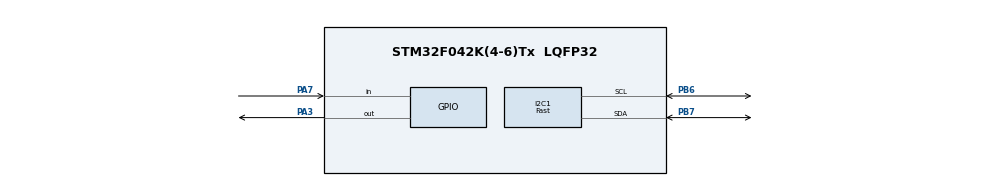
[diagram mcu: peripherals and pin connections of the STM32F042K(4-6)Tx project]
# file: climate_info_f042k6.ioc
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I2C1.I2C_Speed_Mode=I2C_Fast
I2C1.Timing=0x0010020A
Mcu.Family=STM32F0
Mcu.Name=STM32F042K(4-6)Tx
Mcu.Package=LQFP32
NVIC.RTC_IRQn=true\:0\:0\:false\:false\:true\:true\:true\:true
NVIC.TIM2_IRQn=true\:0\:0\:false\:false\:true\:true\:true\:true
PA3.Signal=GPIO_Output
PA7.Signal=GPIO_Input
PB6.Mode=I2C
PB6.Signal=I2C1_SCL
PB7.Mode=I2C
PB7.Signal=I2C1_SDA
ProjectManager.HeapSize=0x200
ProjectManager.StackSize=0x400
ProjectManager.TargetToolchain=STM32CubeIDE
RTC.Alarm=RTC_ALARM_A
RTC.AlarmMaskDateWeekDay=RTC_ALARMMASK_DATEWEEKDAY
RTC.AlarmMaskHours=RTC_ALARMMASK_HOURS
RTC.AlarmMaskMinutes=RTC_ALARMMASK_MINUTES
RTC.AlarmMaskSeconds=RTC_ALARMMASK_SECONDS
RTC.AlarmSubSecondMask=RTC_ALARMSUBSECONDMASK_NONE
RTC.AsynchPrediv=124
RTC.Seconds_A=1
RTC.SynchPrediv=295
TIM2.Period=100
TIM2.Prescaler=799
VP_RTC_VS_RTC_Activate.Mode=RTC_Enabled
VP_RTC_VS_RTC_Alarm_A_Intern.Mode=Alarm A
VP_RTC_VS_RTC_Calendar.Mode=RTC_Calendar
VP_TIM2_VS_ClockSourceINT.Mode=Internal
board=custom

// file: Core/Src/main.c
/* USER CODE BEGIN Header */
/**
  ******************************************************************************
  * @file           : main.c
  * @brief          : Main program body
  ******************************************************************************
  * @attention
  *
  * Copyright (c) 2025 STMicroelectronics.
  * All rights reserved.
  *
  * This software is licensed under terms that can be found in the LICENSE file
  * in the root directory of this software component.
  * If no LICENSE file comes with this software, it is provided AS-IS.
  *
  ******************************************************************************
  */
/* USER CODE END Header */
#include "main.h"

/* USER CODE BEGIN Includes */
#include "lcd.h"
#include "sht41.h"
#include "eeprom_climate_data.h"

/* USER CODE END Includes */

/* USER CODE BEGIN PD */
#define CONSECUTIVE_BUTTON_PRESS_THRESHOLD 20
#define RESET_EEPROM_BUTTON_PRESS_THRESHOLD 1000 // 10 seconds at 100Hz
#define NUMBER_LCD_SCREENS 4
#define EEPROM_ADDRESS 0x50 << 1

/* USER CODE END PD */

I2C_HandleTypeDef hi2c1;

RTC_HandleTypeDef hrtc;

TIM_HandleTypeDef htim2;

/* USER CODE BEGIN PV */
typedef void (* lcd_screen_func)(climate_data *clim_data);
lcd_screen_func lcd_screens[NUMBER_LCD_SCREENS];
uint8_t current_lcd_screen = 0;

volatile int16_t consecutive_button_presses = 0;
volatile int button_handled = 0;
volatile uint8_t lcd_update_pending = 0;
volatile uint8_t sample_pending = 0;  // Flag for temperature sampling
volatile uint8_t reset_eeprom_flag = 0;
volatile uint8_t _1_second_elapsed = 0;

volatile uint8_t lcd_refresh_clock = 0;

climate_data cdata;

/* USER CODE END PV */

void SystemClock_Config(void);
static void MX_GPIO_Init(void);
static void MX_I2C1_Init(void);
static void MX_TIM2_Init(void);
static void MX_RTC_Init(void);
/* USER CODE BEGIN PFP */
void init_lcd_screens();
void write_temps_lcd(I2C_HandleTypeDef * hi2c, char * temp_buffer, char * hum_buffer);
void lcd_print_current_climate(climate_data *clim_data);
void lcd_print_minmax_temp(climate_data *clim_data);
void lcd_print_minmax_hum(climate_data *clim_data);
void lcd_print_time(climate_data *clim_data);

/* USER CODE END PFP */

/* USER CODE BEGIN 0 */
/*
 * Button class could expose a callback function to be put into HAL_TIM_PeriodElapsedCallback
 * It interally read the pin, check previous and current states, etc.
 * Button handler struct could allow a user to provide a callback function that runs when button is pressed
 * How does arduino handle button press API?
 * 	- blocking call to WaitForButtonPress()?
 * 	- Callback when a button is pressed?
 * 	-
 */
void HAL_TIM_PeriodElapsedCallback(TIM_HandleTypeDef *htim)
{
	static uint16_t tick_counter = 0;
	static uint16_t button_down_counter = 0;
	static uint16_t button_up_counter = 0;
	static GPIO_PinState last_button_state = GPIO_PIN_RESET;  // Assume button is normally HIGH
	static uint8_t button_pressed = 0;

	if (htim->Instance == TIM2)  // 100 Hz timer
	{
		GPIO_PinState buttonState = HAL_GPIO_ReadPin(GPIOA, GPIO_PIN_7);
		if (buttonState == GPIO_PIN_SET && last_button_state == GPIO_PIN_RESET)
		{
			button_pressed = 1;
			last_button_state = GPIO_PIN_SET;
		}
		else if(buttonState == GPIO_PIN_RESET)
		{
			button_pressed = 0;
			last_button_state = GPIO_PIN_RESET;
		}
		else
		{

		}

		if(button_pressed)
		{
			button_pressed = 0;
			current_lcd_screen = (current_lcd_screen + 1) % NUMBER_LCD_SCREENS;
			lcd_update_pending = 1;  // Signal LCD update
		}

		// Temperature sampling
		if (++tick_counter >= 300)  // 3 seconds at 100 Hz
		{
			tick_counter = 0;
			sample_pending = 1;
		}
		else if(tick_counter >= 100) // 1 second
		{
			_1_second_elapsed = 1;
		}

	}
}

void HAL_RTC_AlarmAEventCallback(RTC_HandleTypeDef *hrtc)
{
	if(current_lcd_screen == 3)
	{
		lcd_refresh_clock = 1;
	}
}

void set_time (uint8_t hr, uint8_t min, uint8_t sec)
{
	RTC_TimeTypeDef sTime = {0};

	sTime.Hours = hr;
	sTime.Minutes = min;
	sTime.Seconds = sec;
	sTime.DayLightSaving = RTC_DAYLIGHTSAVING_NONE;
	sTime.StoreOperation = RTC_STOREOPERATION_RESET;
	if (HAL_RTC_SetTime(&hrtc, &sTime, RTC_FORMAT_BIN) != HAL_OK)
	{
		Error_Handler();
	}
}

void set_date (uint8_t year, uint8_t month, uint8_t date, uint8_t day)  // monday = 1
{

	RTC_DateTypeDef sDate = {0};
	sDate.WeekDay = day;
	sDate.Month = month;
	sDate.Date = date;
	sDate.Year = year;
	if (HAL_RTC_SetDate(&hrtc, &sDate, RTC_FORMAT_BIN) != HAL_OK)
	{
		Error_Handler();
	}

	HAL_RTCEx_BKUPWrite(&hrtc, RTC_BKP_DR1, 0x2345);  // backup register
}

void get_time_date(char *time, char *date)
{
  RTC_DateTypeDef gDate;
  RTC_TimeTypeDef gTime;

  /* Get the RTC current Time */
  HAL_RTC_GetTime(&hrtc, &gTime, RTC_FORMAT_BIN);
  /* Get the RTC current Date */
  HAL_RTC_GetDate(&hrtc, &gDate, RTC_FORMAT_BIN);

  /* Display time Format: hh:mm:ss */
  sprintf((char*)time,"%02d:%02d:%02d",gTime.Hours, gTime.Minutes, gTime.Seconds);

  /* Display date Format: dd-mm-yyyy */
  sprintf((char*)date,"%02d-%02d-%2d",gDate.Date, gDate.Month, 2000 + gDate.Year);
}

void init_lcd_screens()
{
	//uint8_t amount_screens = sizeof(lcd_screens) / sizeof(lcd_screens[0]); // way to calculate
	lcd_screens[0] = lcd_print_current_climate;
	lcd_screens[1] = lcd_print_minmax_temp;
	lcd_screens[2] = lcd_print_minmax_hum;
	lcd_screens[3] = lcd_print_time;
	lcd_screens[0](&cdata);
}

void write_temps_lcd(I2C_HandleTypeDef * hi2c, char * temp_buffer, char * hum_buffer)
{
	//uart_print(huart, temp_buffer);
	//uart_print(huart, hum_buffer);

	lcd_clear_display(hi2c);
	lcd_place_cursor(hi2c, 0, 0);
	lcd_print_string(hi2c, temp_buffer);
	lcd_place_cursor(hi2c, 1, 0);
	lcd_print_string(hi2c, hum_buffer);
}

void lcd_print_current_climate(climate_data *clim_data)
{
	char temp_str_buffer[32] = {0};
	char hum_str_buffer[32] = {0};

	sprintf(temp_str_buffer, "Cur Temp: %dF", (int) clim_data->current_temp);
	sprintf(hum_str_buffer, "Cur Hum:  %d%%", (int) clim_data->current_hum);

	lcd_print_2_lines(clim_data->hal_i2c, temp_str_buffer, hum_str_buffer);
}

void lcd_print_minmax_temp(climate_data *clim_data)
{
	char temp_str_buffer[32] = {0};
	char hum_str_buffer[32] = {0};

	sprintf(temp_str_buffer, "Max Temp: %dF", (int) clim_data->max_temp);
	sprintf(hum_str_buffer, "Min Temp: %dF", (int) clim_data->min_temp);

	lcd_print_2_lines(clim_data->hal_i2c, temp_str_buffer, hum_str_buffer);
}

void lcd_print_minmax_hum(climate_data *clim_data)
{
	char temp_str_buffer[32] = {0};
	char hum_str_buffer[32] = {0};

	sprintf(temp_str_buffer, "Max Hum: %d%%", (int) clim_data->max_hum);
	sprintf(hum_str_buffer, "Min Hum: %d%%", (int) clim_data->min_hum);

	lcd_print_2_lines(clim_data->hal_i2c, temp_str_buffer, hum_str_buffer);
}

void lcd_print_time(climate_data *clim_data)
{
	RTC_TimeTypeDef gTime;

	char time_buf[32] = {0};
	char date_buf[32] = {0};

	get_time_date(time_buf, date_buf);

	lcd_print_2_lines(clim_data->hal_i2c, "Uptime:", time_buf);
}

/*
void print_climate_data_to_uart(climate_data * climdata, UART_HandleTypeDef *huart)
{
	char str_buffer[32] = {0};
	sprintf(str_buffer, "Cur Temp: %dF", (int) climdata->current_temp);
	uart_print(huart, str_buffer);

	sprintf(str_buffer, "Cur Hum: %d%%", (int) climdata->current_hum);
	uart_print(huart, str_buffer);

	sprintf(str_buffer, "Max Temp: %dF", (int) climdata->max_temp);
	uart_print(huart, str_buffer);

	sprintf(str_buffer, "Min Temp: %dF", (int) climdata->min_temp);
	uart_print(huart, str_buffer);

	sprintf(str_buffer, "Max Hum: %d%%", (int) climdata->max_hum);
	uart_print(huart, str_buffer);

	sprintf(str_buffer, "Min Hum: %d%%", (int) climdata->min_hum);
	uart_print(huart, str_buffer);
}
*/

/* USER CODE END 0 */

int main(void)
{

  /* MCU Configuration--------------------------------------------------------*/

  /* Reset of all peripherals, Initializes the Flash interface and the Systick. */
  HAL_Init();

  /* Configure the system clock */
  SystemClock_Config();

  /* Initialize all configured peripherals */
  MX_GPIO_Init();
  MX_I2C1_Init();
  MX_TIM2_Init();
  MX_RTC_Init();

  /* Infinite loop */
  /* USER CODE BEGIN WHILE */
  HAL_StatusTypeDef retval = HAL_OK;
  //retval = reset_climate_data_eeprom(&hi2c1);
  retval = init_climate_data(&cdata, &hi2c1);
  init_lcd_screens();

  set_time(0,0,0);
  while (1)
  {
	  if(lcd_refresh_clock)
	  {
		  lcd_refresh_clock = 0;
		  lcd_screens[current_lcd_screen](&cdata);
	  }

	  if (lcd_update_pending)
	  {
		  lcd_update_pending = 0;  // Clear the flag
		  lcd_clear_display(cdata.hal_i2c);
		  HAL_Delay(10);
		  lcd_screens[current_lcd_screen](&cdata);  // Update LCD immediately
	  }

	  // Check for temperature sampling
	  uint8_t trigger_screen_refresh = 0;
	  if(reset_eeprom_flag)
	  {
		  reset_eeprom_flag = 0;

		  lcd_print_2_lines(&hi2c1, "RESETTING EEPROM", ".......");
		  HAL_Delay(2500);
		  if (reset_climate_data_eeprom(&hi2c1) != HAL_OK)
		  {
			  break;
		  }
		  if(init_climate_data(&cdata, &hi2c1) != HAL_OK)
		  {
			  break;
		  }
		  sample_pending = 1;
		  trigger_screen_refresh = 1;
		  HAL_Delay(1000);
	  }

	  if (sample_pending)
	  {
		  sample_pending = 0;  // Clear the flag
		  //HAL_GPIO_TogglePin(GPIOA, GPIO_PIN_3);

		  if (update_climate_data_in_eeprom(&cdata) != HAL_OK)
		  {
			  break;
		  }
		  //print_climate_data_to_uart(&cdata, &huart2);
		  if(current_lcd_screen == 0 || trigger_screen_refresh)
		  {
			  lcd_screens[current_lcd_screen](&cdata);
		  }
		 // HAL_GPIO_TogglePin(GPIOA, GPIO_PIN_3);
	  }
/*
	  if(_1_second_elapsed && current_lcd_screen == 3)
	  {
		  lcd_print_time(&cdata);
		  _1_second_elapsed = 0;
	  }
	  */

	  // Other tasks can be added here...

	  __WFI();
    /* USER CODE END WHILE */

  }
}

void SystemClock_Config(void)
{
  RCC_OscInitTypeDef RCC_OscInitStruct = {0};
  RCC_ClkInitTypeDef RCC_ClkInitStruct = {0};
  RCC_PeriphCLKInitTypeDef PeriphClkInit = {0};

  /** Initializes the RCC Oscillators according to the specified parameters
  * in the RCC_OscInitTypeDef structure.
  */
  RCC_OscInitStruct.OscillatorType = RCC_OSCILLATORTYPE_HSI|RCC_OSCILLATORTYPE_LSI;
  RCC_OscInitStruct.HSIState = RCC_HSI_ON;
  RCC_OscInitStruct.HSICalibrationValue = RCC_HSICALIBRATION_DEFAULT;
  RCC_OscInitStruct.LSIState = RCC_LSI_ON;
  RCC_OscInitStruct.PLL.PLLState = RCC_PLL_NONE;
  if (HAL_RCC_OscConfig(&RCC_OscInitStruct) != HAL_OK)
  {
    Error_Handler();
  }

  /** Initializes the CPU, AHB and APB buses clocks
  */
  RCC_ClkInitStruct.ClockType = RCC_CLOCKTYPE_HCLK|RCC_CLOCKTYPE_SYSCLK
                              |RCC_CLOCKTYPE_PCLK1;
  RCC_ClkInitStruct.SYSCLKSource = RCC_SYSCLKSOURCE_HSI;
  RCC_ClkInitStruct.AHBCLKDivider = RCC_SYSCLK_DIV1;
  RCC_ClkInitStruct.APB1CLKDivider = RCC_HCLK_DIV1;

  if (HAL_RCC_ClockConfig(&RCC_ClkInitStruct, FLASH_LATENCY_0) != HAL_OK)
  {
    Error_Handler();
  }
  PeriphClkInit.PeriphClockSelection = RCC_PERIPHCLK_I2C1|RCC_PERIPHCLK_RTC;
  PeriphClkInit.I2c1ClockSelection = RCC_I2C1CLKSOURCE_HSI;
  PeriphClkInit.RTCClockSelection = RCC_RTCCLKSOURCE_LSI;
  if (HAL_RCCEx_PeriphCLKConfig(&PeriphClkInit) != HAL_OK)
  {
    Error_Handler();
  }
}

static void MX_I2C1_Init(void)
{

  hi2c1.Instance = I2C1;
  hi2c1.Init.Timing = 0x0010020A;
  hi2c1.Init.OwnAddress1 = 0;
  hi2c1.Init.AddressingMode = I2C_ADDRESSINGMODE_7BIT;
  hi2c1.Init.DualAddressMode = I2C_DUALADDRESS_DISABLE;
  hi2c1.Init.OwnAddress2 = 0;
  hi2c1.Init.OwnAddress2Masks = I2C_OA2_NOMASK;
  hi2c1.Init.GeneralCallMode = I2C_GENERALCALL_DISABLE;
  hi2c1.Init.NoStretchMode = I2C_NOSTRETCH_DISABLE;
  if (HAL_I2C_Init(&hi2c1) != HAL_OK)
  {
    Error_Handler();
  }

  /** Configure Analogue filter
  */
  if (HAL_I2CEx_ConfigAnalogFilter(&hi2c1, I2C_ANALOGFILTER_ENABLE) != HAL_OK)
  {
    Error_Handler();
  }

  /** Configure Digital filter
  */
  if (HAL_I2CEx_ConfigDigitalFilter(&hi2c1, 0) != HAL_OK)
  {
    Error_Handler();
  }

}

static void MX_RTC_Init(void)
{

  RTC_TimeTypeDef sTime = {0};
  RTC_DateTypeDef sDate = {0};
  RTC_AlarmTypeDef sAlarm = {0};

  /** Initialize RTC Only
  */
  hrtc.Instance = RTC;
  hrtc.Init.HourFormat = RTC_HOURFORMAT_24;
  hrtc.Init.AsynchPrediv = 124;
  hrtc.Init.SynchPrediv = 295;
  hrtc.Init.OutPut = RTC_OUTPUT_DISABLE;
  hrtc.Init.OutPutPolarity = RTC_OUTPUT_POLARITY_HIGH;
  hrtc.Init.OutPutType = RTC_OUTPUT_TYPE_OPENDRAIN;
  if (HAL_RTC_Init(&hrtc) != HAL_OK)
  {
    Error_Handler();
  }

  /** Initialize RTC and set the Time and Date
  */
  sTime.Hours = 0x0;
  sTime.Minutes = 0x0;
  sTime.Seconds = 0x0;
  sTime.DayLightSaving = RTC_DAYLIGHTSAVING_NONE;
  sTime.StoreOperation = RTC_STOREOPERATION_RESET;
  if (HAL_RTC_SetTime(&hrtc, &sTime, RTC_FORMAT_BCD) != HAL_OK)
  {
    Error_Handler();
  }
  sDate.WeekDay = RTC_WEEKDAY_MONDAY;
  sDate.Month = RTC_MONTH_JANUARY;
  sDate.Date = 0x1;
  sDate.Year = 0x0;

  if (HAL_RTC_SetDate(&hrtc, &sDate, RTC_FORMAT_BCD) != HAL_OK)
  {
    Error_Handler();
  }

  /** Enable the Alarm A
  */
  sAlarm.AlarmTime.Hours = 0x0;
  sAlarm.AlarmTime.Minutes = 0x0;
  sAlarm.AlarmTime.Seconds = 0x1;
  sAlarm.AlarmTime.SubSeconds = 0x0;
  sAlarm.AlarmTime.DayLightSaving = RTC_DAYLIGHTSAVING_NONE;
  sAlarm.AlarmTime.StoreOperation = RTC_STOREOPERATION_RESET;
  sAlarm.AlarmMask = RTC_ALARMMASK_ALL;
  sAlarm.AlarmSubSecondMask = RTC_ALARMSUBSECONDMASK_NONE;
  sAlarm.AlarmDateWeekDaySel = RTC_ALARMDATEWEEKDAYSEL_DATE;
  sAlarm.AlarmDateWeekDay = 0x1;
  sAlarm.Alarm = RTC_ALARM_A;
  if (HAL_RTC_SetAlarm_IT(&hrtc, &sAlarm, RTC_FORMAT_BCD) != HAL_OK)
  {
    Error_Handler();
  }
  /* USER CODE BEGIN RTC_Init 2 */
  HAL_NVIC_SetPriority(RTC_IRQn, 0, 0);
  HAL_NVIC_EnableIRQ(RTC_IRQn);

  /* USER CODE END RTC_Init 2 */

}

static void MX_TIM2_Init(void)
{

  TIM_ClockConfigTypeDef sClockSourceConfig = {0};
  TIM_MasterConfigTypeDef sMasterConfig = {0};

  htim2.Instance = TIM2;
  htim2.Init.Prescaler = 799;
  htim2.Init.CounterMode = TIM_COUNTERMODE_UP;
  htim2.Init.Period = 100;
  htim2.Init.ClockDivision = TIM_CLOCKDIVISION_DIV1;
  htim2.Init.AutoReloadPreload = TIM_AUTORELOAD_PRELOAD_DISABLE;
  if (HAL_TIM_Base_Init(&htim2) != HAL_OK)
  {
    Error_Handler();
  }
  sClockSourceConfig.ClockSource = TIM_CLOCKSOURCE_INTERNAL;
  if (HAL_TIM_ConfigClockSource(&htim2, &sClockSourceConfig) != HAL_OK)
  {
    Error_Handler();
  }
  sMasterConfig.MasterOutputTrigger = TIM_TRGO_RESET;
  sMasterConfig.MasterSlaveMode = TIM_MASTERSLAVEMODE_DISABLE;
  if (HAL_TIMEx_MasterConfigSynchronization(&htim2, &sMasterConfig) != HAL_OK)
  {
    Error_Handler();
  }
  /* USER CODE BEGIN TIM2_Init 2 */
  HAL_TIM_Base_Start_IT(&htim2);
  /* USER CODE END TIM2_Init 2 */

}

static void MX_GPIO_Init(void)
{
  GPIO_InitTypeDef GPIO_InitStruct = {0};

  /* GPIO Ports Clock Enable */
  __HAL_RCC_GPIOA_CLK_ENABLE();
  __HAL_RCC_GPIOB_CLK_ENABLE();

  /*Configure GPIO pin Output Level */
  HAL_GPIO_WritePin(GPIOA, GPIO_PIN_3, GPIO_PIN_RESET);

  /*Configure GPIO pin : PA3 */
  GPIO_InitStruct.Pin = GPIO_PIN_3;
  GPIO_InitStruct.Mode = GPIO_MODE_OUTPUT_PP;
  GPIO_InitStruct.Pull = GPIO_NOPULL;
  GPIO_InitStruct.Speed = GPIO_SPEED_FREQ_LOW;
  HAL_GPIO_Init(GPIOA, &GPIO_InitStruct);

  /*Configure GPIO pin : PA7 */
  GPIO_InitStruct.Pin = GPIO_PIN_7;
  GPIO_InitStruct.Mode = GPIO_MODE_INPUT;
  GPIO_InitStruct.Pull = GPIO_NOPULL;
  HAL_GPIO_Init(GPIOA, &GPIO_InitStruct);

}

void Error_Handler(void)
{
  __disable_irq();
  while (1)
  {
  }
}
